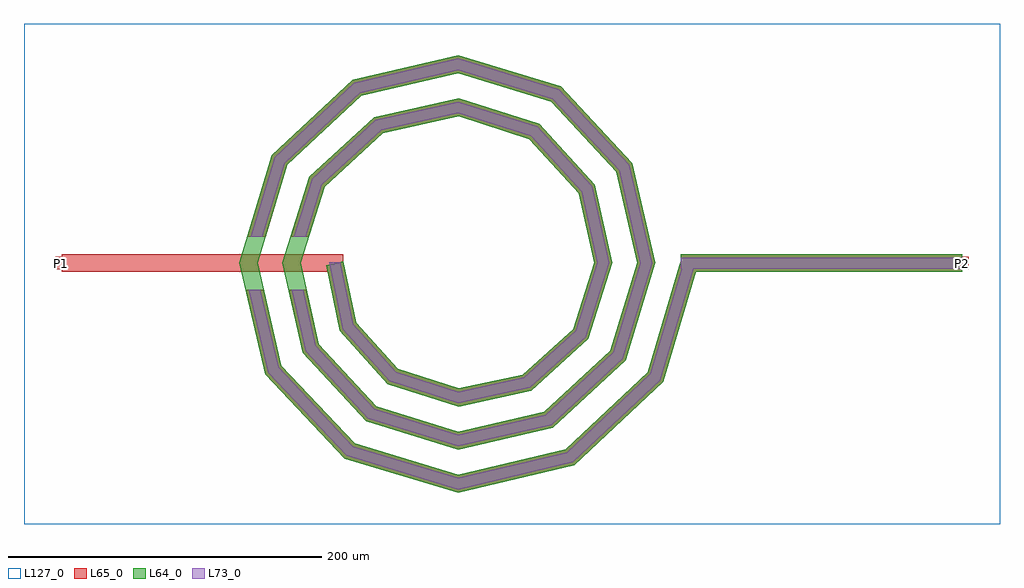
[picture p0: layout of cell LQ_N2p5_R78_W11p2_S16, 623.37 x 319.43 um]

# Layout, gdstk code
import gdstk
lib = gdstk.Library(unit=1e-6, precision=1e-09)
def R(c, l, rs):  # rectangles x0, y0, x1, y1
    for r in rs: c.add(gdstk.rectangle(r[:2], r[2:], *l))
def P(c, l, *ps):  # polygons
    for p in ps: c.add(gdstk.Polygon(p, *l))
L64_0 = (64, 0)
L65_0 = (65, 0)
L73_0 = (73, 0)
L127_0 = (127, 0)

lq_n2p5_r78_w11p2_s16 = lib.new_cell('LQ_N2p5_R78_W11p2_S16')
R(lq_n2p5_r78_w11p2_s16, L64_0, [(142.077,-5.6,322.077,5.6)])
P(lq_n2p5_r78_w11p2_s16, L64_0, [(-65.144,-37.963),(-38.588,-67.43),(0.289,-79.983),(41.381,-71.111),(73.375,-42.046),(86.86,0.267),(77.078,44.802),(45.502,79.321),(0.249,93.737),(-48.226,83.042),(-85.269,48.955),(-100.615,0.233),(-89.006,-51.651),(-52.406,-91.217),(0.219,-107.492),(55.078,-94.969),(97.167,-55.857),(114.37,0.206),(100.932,58.507),(59.305,103.118),(0.195,121.248),(-61.936,106.893),(-109.069,62.753),(-128.126,0.185),(-112.854,-65.367),(-66.2,-115.02),(0.176,-135.003),(68.798,-118.815),(120.973,-69.647),(142.312,1.607),(153.041,-1.607),(130.84,-75.738),(74.293,-129.026),(0.176,-146.594),(-72.306,-124.879),(-123.074,-70.847),(-139.716,0.185),(-118.917,68.875),(-67.399,117.122),(0.195,132.837),(65.444,112.955),(111.17,63.951),(125.959,0.206),(106.993,-62.015),(60.501,-105.22),(0.219,-119.08),(-58.587,-101.029),(-99.269,-57.05),(-112.202,0.233),(-95.065,55.161),(-53.597,93.32),(0.249,105.323),(51.736,89.099),(87.371,50.143),(98.444,0.267),(83.132,-48.313),(46.685,-81.424),(0.289,-91.565),(-44.893,-77.164),(-75.479,-43.225),(-84.375,-1.159),(-73.417,1.159)])
R(lq_n2p5_r78_w11p2_s16, L65_0, [(-253.296,-5.6,-73.296,5.6), (142.077,-5.6,322.077,5.6), (-257.296,-4,-249.296,4), (318.077,-4,326.077,4)])
P(lq_n2p5_r78_w11p2_s16, L65_0, [(-112.855,-65.367),(-66.2,-115.021),(0.176,-135.004),(68.798,-118.815),(120.973,-69.647),(142.312,1.607),(153.041,-1.607),(130.84,-75.738),(74.293,-129.026),(0.176,-146.594),(-72.306,-124.879),(-123.074,-70.847),(-135.736,-16.8),(-124.233,-16.8)],
  [(-89.006,-51.651),(-52.407,-91.217),(0.219,-107.492),(55.078,-94.969),(97.167,-55.857),(114.37,0.206),(100.932,58.507),(59.306,103.118),(0.195,121.248),(-61.936,106.893),(-109.069,62.753),(-122.983,16.8),(-134.685,16.8),(-118.918,68.875),(-67.399,117.122),(0.195,132.837),(65.444,112.955),(111.17,63.951),(125.959,0.206),(106.993,-62.015),(60.501,-105.22),(0.219,-119.08),(-58.587,-101.029),(-99.269,-57.05),(-108.356,-16.8),(-96.874,-16.8)],
  [(-38.588,-67.43),(0.289,-79.983),(41.381,-71.112),(73.375,-42.046),(86.86,0.268),(77.078,44.802),(45.502,79.321),(0.249,93.737),(-48.226,83.042),(-85.269,48.955),(-95.301,16.8),(-107.033,16.8),(-95.065,55.161),(-53.597,93.32),(0.249,105.323),(51.736,89.099),(87.372,50.143),(98.444,0.268),(83.132,-48.313),(46.686,-81.424),(0.289,-91.565),(-44.893,-77.164),(-75.479,-43.225),(-84.375,-1.159),(-73.417,1.159),(-65.144,-37.963)])
R(lq_n2p5_r78_w11p2_s16, L73_0, [(142.077,-3.6,322.077,3.6)])
P(lq_n2p5_r78_w11p2_s16, L73_0, [(-114.679,-66.345),(-67.291,-116.781),(0.113,-137.073),(69.779,-120.639),(122.735,-70.734),(144.228,1.033),(151.126,-1.033),(129.078,-74.65),(73.312,-127.203),(0.113,-144.524),(-71.215,-123.119),(-121.249,-69.868),(-133.682,-16.8),(-126.287,-16.8)],
  [(-90.839,-52.615),(-53.51,-92.97),(0.141,-109.562),(56.047,-96.8),(98.922,-56.956),(116.439,0.133),(102.76,59.479),(60.402,104.874),(0.126,123.317),(-62.912,108.72),(-110.828,63.846),(-125.072,16.8),(-132.595,16.8),(-117.159,67.782),(-66.424,115.295),(0.126,130.768),(64.348,111.199),(109.342,62.978),(123.889,0.133),(105.238,-60.915),(59.533,-103.389),(0.141,-117.011),(-57.484,-99.277),(-97.437,-56.086),(-106.306,-16.8),(-98.925,-16.8)],
  [(-39.714,-69.168),(0.186,-82.051),(42.328,-72.953),(75.117,-43.165),(88.928,0.172),(78.916,45.756),(46.615,81.067),(0.16,95.806),(-49.185,84.878),(-87.018,50.063),(-97.396,16.8),(-104.938,16.8),(-93.316,54.053),(-52.638,91.485),(0.16,103.254),(50.623,87.353),(85.533,49.189),(96.376,0.172),(81.39,-47.194),(45.738,-79.583),(0.186,-89.497),(-43.767,-75.426),(-73.633,-42.286),(-82.418,0.745),(-75.374,0.745),(-66.989,-38.903)])
R(lq_n2p5_r78_w11p2_s16, L127_0, [(-277.296,-166.594,346.077,152.837)])
lq_n2p5_r78_w11p2_s16.add(gdstk.Label('P2', (322.077,0), layer=65, texttype=0))
lq_n2p5_r78_w11p2_s16.add(gdstk.Label('P1', (-253.296,0), layer=65, texttype=0))
lq_n2p5_r78_w11p2_s16.add(gdstk.Label('P2', (326.077,0), layer=145, texttype=0))
lq_n2p5_r78_w11p2_s16.add(gdstk.Label('P1', (-257.296,0), layer=145, texttype=0))

lib.write_gds('LQ_N2p5_R78_W11p2_S16.gds')
